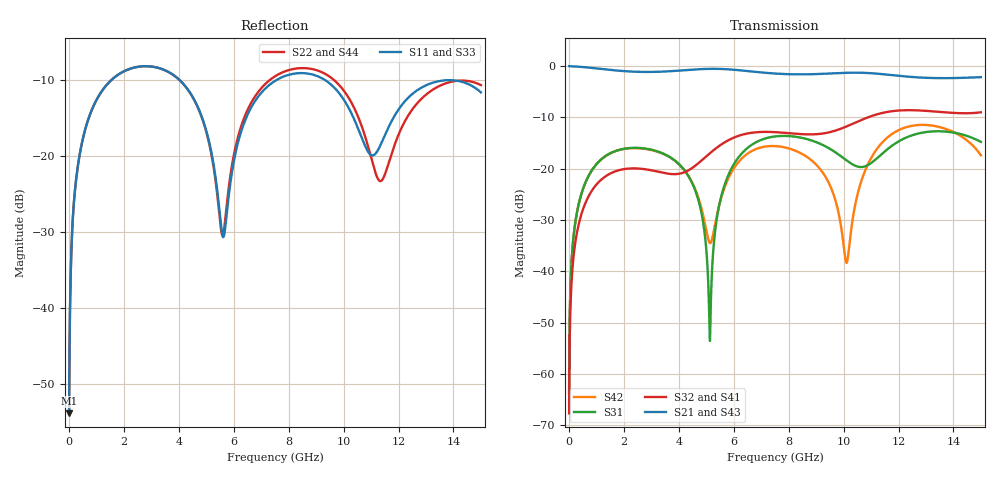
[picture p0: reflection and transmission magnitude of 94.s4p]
! Created with skrf 1.8.0 (http://scikit-rf.org).
# GHz S RI R 50.0
!freq ReS11 ImS11 ReS12 ImS12 ReS13 ImS13
! ReS14 ImS14
! ReS21 ImS21 ReS22 ImS22 ReS23 ImS23
! ReS24 ImS24
! ReS31 ImS31 ReS32 ImS32 ReS33 ImS33
! ReS34 ImS34
! ReS41 ImS41 ReS42 ImS42 ReS43 ImS43
! ReS44 ImS44
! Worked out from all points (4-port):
!   2499 points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, 5 MHz to 15 GHz, reference 50 ohm
!   strongest paths, dB at 5 MHz, 3.476 GHz, 7.19 GHz, 11.1 GHz, 15 GHz:
!     S21: 0.0, -1.1, -1.3, -1.4, -2.2
!     S43: 0.0, -1.1, -1.3, -1.4, -2.2
!     S32: -67.7, -20.8, -12.8, -9.6, -9.0
!     S41: -67.7, -21.0, -12.9, -9.6, -9.1
!     S31: -63.7, -17.2, -14.0, -18.5, -14.8
!     S42: -63.7, -17.2, -15.7, -17.1, -17.4
!   lowest |S11| = -53.9 dB at 5 MHz (marker M1), VSWR 1.00, Z = 50.2 + j0.122 ohm
!   |S11| at or under -10 dB: start of sweep to 1.532 GHz; 4.039 GHz to 7.537 GHz (3.497 GHz wide, 60.4 % of centre); 9.341 GHz to 13.68 GHz (4.342 GHz wide, 37.7 % of centre) (the widest 3 of 4)
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0.005  0.0016 0.00122  0.9984 -0.00312  8.09e-05 0.00065  -7.85e-05 -0.000405
       0.9984 -0.00312  0.0016 0.00122  -7.85e-05 -0.000405  8.08e-05 0.00065
       8.09e-05 0.00065  -7.85e-05 -0.000405  0.0016 0.00122  0.9984 -0.00312
       -7.85e-05 -0.000405  8.08e-05 0.00065  0.9984 -0.00312  0.0016 0.00122
0.3126303  0.0231 0.0801  0.9684 -0.1942  0.0109 0.0387  -0.00895 -0.0239
           0.9684 -0.1942  0.0231 0.0801  -0.00896 -0.0239  0.0107 0.0387
           0.0109 0.0387  -0.00896 -0.0239  0.0231 0.0801  0.9684 -0.1942
           -0.00895 -0.0239  0.0107 0.0387  0.9684 -0.1942  0.0231 0.0801
1.519383  0.2561 0.1828  0.5782 -0.712  0.1262 0.0656  -0.0893 -0.0111
          0.5782 -0.712  0.2566 0.1825  -0.0895 -0.0109  0.1243 0.0679
          0.1262 0.0656  -0.0895 -0.0109  0.2559 0.1829  0.5782 -0.712
          -0.0893 -0.0111  0.1243 0.0679  0.5782 -0.712  0.2567 0.1824
5.127136  0.0566 -0.1047  -0.8827 -0.3243  0.00208 -0.000356  -0.0462 0.1333
          -0.8827 -0.3243  0.0557 -0.1019  -0.0425 0.1345  -0.018 -0.00589
          0.00208 -0.000356  -0.0425 0.1345  0.0574 -0.1041  -0.8828 -0.3241
          -0.0462 0.1333  -0.018 -0.00589  -0.8828 -0.3241  0.0545 -0.102
8.741142  0.3485 -0.0274  0.0259 0.8319  0.1233 -0.1469  0.2052 -0.0583
          0.0259 0.8319  0.3742 -0.0575  0.2049 -0.068  0.1227 -0.029
          0.1233 -0.1469  0.2049 -0.068  0.3493 -0.025  0.0259 0.831
          0.2052 -0.0583  0.1227 -0.029  0.0259 0.831  0.3776 -0.0588
10.10421  0.1842 -0.1222  0.5961 0.6204  -0.0706 -0.098  0.185 -0.1793
          0.5961 0.6204  0.1854 -0.1761  0.1754 -0.1892  0.0106 0.00588
          -0.0706 -0.098  0.1754 -0.1892  0.1888 -0.1216  0.595 0.6203
          0.185 -0.1793  0.0106 0.00588  0.595 0.6203  0.1869 -0.179
15  0.2389 -0.1111  -0.1931 -0.7559  0.0658 -0.1702  -0.3279 0.1215
    -0.1931 -0.7559  0.277 -0.0996  -0.3211 0.1498  0.1058 -0.0841
    0.0658 -0.1702  -0.3211 0.1498  0.2419 -0.0989  -0.1926 -0.7552
    -0.3279 0.1215  0.1058 -0.0841  -0.1926 -0.7552  0.2814 -0.1109
